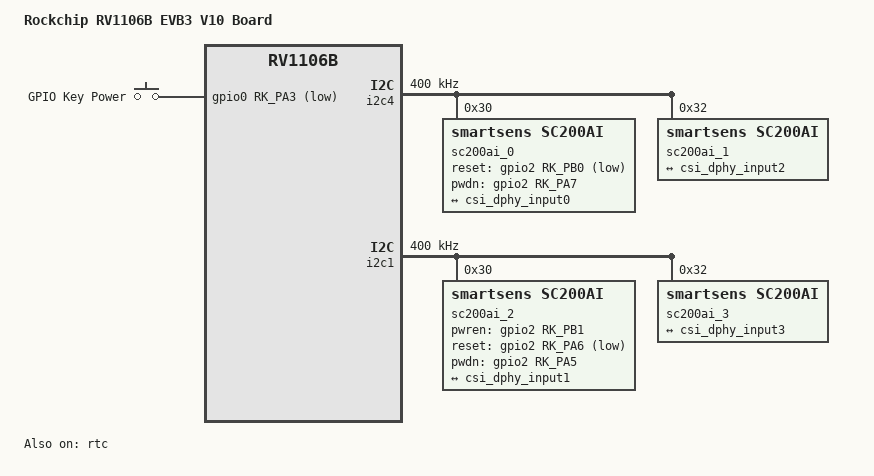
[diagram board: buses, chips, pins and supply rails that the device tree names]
// SPDX-License-Identifier: (GPL-2.0+ OR MIT)
/*
 * Copyright (c) 2026 Rockchip Electronics Co., Ltd.
 */
/dts-v1/;
#include "rv1106b.dtsi"
#include "rv1106b-amp.dtsi"
#include "rv1106b-evb3-v10.dtsi"
#include "rv1106b-evb3-quad-cam.dtsi"

/ {
	model = "Rockchip RV1106B EVB3 V10 Board";
	compatible = "rockchip,rv1106b-evb3-v10-normal-spi-nor-quad-cam", "rockchip,rv1106b";

	gpio-keys {
		compatible = "gpio-keys";
		autorepeat;
		pinctrl-names = "default";
		pinctrl-0 = <&pwr_key>;
		power-key {
			gpios = <&gpio0 RK_PA3 GPIO_ACTIVE_LOW>;
			linux,code = <KEY_POWER>;
			label ="GPIO Key Power";
			debounce-interval = <100>;
			wakeup-source;
			/* gpio-key,wakeup; */
		};
	};
};

&fiq_debugger {
	rockchip,baudrate = <1500000>;
};

&i2c4 {
	clock-frequency = <400000>;
	pinctrl-names = "default";
	pinctrl-0 = <&i2c4m1_xfer_pins>;
	rockchip,amp-shared;
	status = "okay";

	sc200ai_0: sc200ai_0@30 {
		compatible = "smartsens,sc200ai";
		reg = <0x30>;
		clocks = <&cru CLK_MIPI0_OUT2IO>;
		clock-names = "xvclk";
		//pwren-gpios = <&gpio2 RK_PB1 GPIO_ACTIVE_HIGH>;
		reset-gpios = <&gpio2 RK_PB0 GPIO_ACTIVE_LOW>;
		pwdn-gpios = <&gpio2 RK_PA7 GPIO_ACTIVE_HIGH>;
		pinctrl-names = "default";
		pinctrl-0 = <&cam_clk0_pins>;
		rockchip,camera-module-index = <0>;
		rockchip,camera-module-facing = "back";
		rockchip,camera-module-name = "default";
		rockchip,camera-module-lens-name = "default";
		rockchip,camera-module-sync-mode = "internal_master";
		rockchip,camera-module-group-id = <0>;
		rockchip,camera-module-stb = <1>;

		port {
			cam0_out: endpoint {
				remote-endpoint = <&csi_dphy_input0>;
				data-lanes = <1 2>;
			};
		};
	};

	sc200ai_1: sc200ai_1@32 {
		compatible = "smartsens,sc200ai";
		reg = <0x32>;
		clocks = <&cru CLK_MIPI0_OUT2IO>;
		clock-names = "xvclk";
		/* pwren-gpios = <&gpio2 RK_PB1 GPIO_ACTIVE_HIGH>; */
		/* reset-gpios = <&gpio2 RK_PB0 GPIO_ACTIVE_LOW>; */
		/* pwdn-gpios = <&gpio2 RK_PA7 GPIO_ACTIVE_HIGH>; */
		/* pinctrl-names = "default"; */
		/* pinctrl-0 = <&cam_clk0_pins>; */
		rockchip,camera-module-index = <2>;
		rockchip,camera-module-facing = "back";
		rockchip,camera-module-name = "default";
		rockchip,camera-module-lens-name = "default";
		rockchip,camera-module-sync-mode = "slave";
		rockchip,camera-module-group-id = <0>;
		rockchip,camera-module-stb = <1>;

		port {
			cam2_out: endpoint {
				remote-endpoint = <&csi_dphy_input2>;
				data-lanes = <1 2>;
			};
		};
	};
};

&i2c1 {
	clock-frequency = <400000>;
	pinctrl-names = "default";
	pinctrl-0 = <&i2c1m0_xfer_pins>;
	rockchip,amp-shared;
	status = "okay";
	sc200ai_2: sc200ai_2@30 {
		compatible = "smartsens,sc200ai";
		reg = <0x30>;
		clocks = <&cru CLK_MIPI1_OUT2IO>;
		clock-names = "xvclk";
		pwren-gpios = <&gpio2 RK_PB1 GPIO_ACTIVE_HIGH>;
		reset-gpios = <&gpio2 RK_PA6 GPIO_ACTIVE_LOW>;
		pwdn-gpios = <&gpio2 RK_PA5 GPIO_ACTIVE_HIGH>;
		pinctrl-names = "default";
		pinctrl-0 = <&cam_clk1_pins>;
		rockchip,camera-module-index = <1>;
		rockchip,camera-module-facing = "back";
		rockchip,camera-module-name = "default";
		rockchip,camera-module-lens-name = "default";
		rockchip,camera-module-sync-mode = "internal_master";
		rockchip,camera-module-group-id = <1>;
		rockchip,camera-module-stb = <1>;

		port {
			cam1_out: endpoint {
				remote-endpoint = <&csi_dphy_input1>;
				data-lanes = <1 2>;
			};
		};
	};
	sc200ai_3: sc200ai_3@32 {
		compatible = "smartsens,sc200ai";
		reg = <0x32>;
		clocks = <&cru CLK_MIPI1_OUT2IO>;
		clock-names = "xvclk";
		//pwren-gpios = <&gpio2 RK_PB1 GPIO_ACTIVE_HIGH>;
		//reset-gpios = <&gpio2 RK_PA6 GPIO_ACTIVE_LOW>;
		//pwdn-gpios = <&gpio2 RK_PA5 GPIO_ACTIVE_HIGH>;
		//pinctrl-names = "default";
		//pinctrl-0 = <&cam_clk1_pins>;
		rockchip,camera-module-index = <3>;
		rockchip,camera-module-facing = "back";
		rockchip,camera-module-name = "default";
		rockchip,camera-module-lens-name = "default";
		rockchip,camera-module-sync-mode = "slave";
		rockchip,camera-module-group-id = <1>;
		rockchip,camera-module-stb = <1>;

		port {
			cam3_out: endpoint {
				remote-endpoint = <&csi_dphy_input3>;
				data-lanes = <1 2>;
			};
		};
	};
};

&pinctrl {
	buttons {
		pwr_key: pwr-key {
			rockchip,pins = <0 RK_PA3 RK_FUNC_GPIO &pcfg_pull_up>;
		};
	};
};

&rockchip_suspend {
	status = "okay";

	rockchip,sleep-io-config = <
		/* pmic_sleep */
		(0
		| RKPM_IO_CFG_IOMUX_GPIO
		| RKPM_IO_CFG_GPIO_DIR_INPUT
		| RKPM_IO_CFG_PULL_DOWN
		| RKPM_IO_CFG_ID(0)
		)
		(0
		| RKPM_IO_CFG_IOMUX_GPIO
		| RKPM_IO_CFG_GPIO_DIR_INPUT
		| RKPM_IO_CFG_PULL_DOWN
		| RKPM_IO_CFG_ID(1)
		)
		(0
		| RKPM_IO_CFG_IOMUX_GPIO
		| RKPM_IO_CFG_GPIO_DIR_INPUT
		| RKPM_IO_CFG_PULL_DOWN
		| RKPM_IO_CFG_ID(2)
		)
		(0
		| RKPM_IO_CFG_IOMUX_GPIO
		| RKPM_IO_CFG_PULL_UP
		| RKPM_IO_CFG_ID(3)
		)
		(0
		| RKPM_IO_CFG_IOMUX_GPIO
		| RKPM_IO_CFG_GPIO_DIR_INPUT
		| RKPM_IO_CFG_PULL_DOWN
		| RKPM_IO_CFG_ID(4)
		)
		(0
		| RKPM_IO_CFG_IOMUX_GPIO
		| RKPM_IO_CFG_GPIO_DIR_INPUT
		| RKPM_IO_CFG_PULL_DOWN
		| RKPM_IO_CFG_ID(5)
		)
		(0
		| RKPM_IO_CFG_IOMUX_GPIO
		| RKPM_IO_CFG_GPIO_DIR_INPUT
		| RKPM_IO_CFG_PULL_DOWN
		| RKPM_IO_CFG_ID(6)
		)
	>;
};

&rtc {
	rockchip,rtc-suspend-bypass;
	status = "okay";
};
